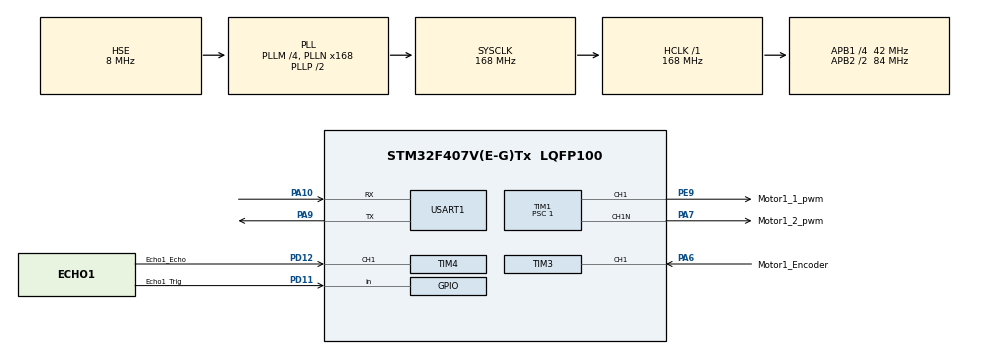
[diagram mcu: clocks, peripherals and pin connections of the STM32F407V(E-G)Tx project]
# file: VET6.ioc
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Mcu.Family=STM32F4
Mcu.Name=STM32F407V(E-G)Tx
Mcu.Package=LQFP100
NVIC.PriorityGroup=NVIC_PRIORITYGROUP_4
NVIC.TIM3_IRQn=true\:0\:0\:false\:false\:true\:true
NVIC.TIM4_IRQn=true\:0\:0\:false\:false\:true\:true
PA10.Mode=Asynchronous
PA10.Signal=USART1_RX
PA6.GPIO_Label=Motor1_Encoder
PA6.GPIO_PuPd=GPIO_PULLUP
PA6.GPIO_Speed=GPIO_SPEED_FREQ_HIGH
PA6.Signal=S_TIM3_CH1
PA7.GPIO_Label=Motor1_2_pwm
PA7.GPIO_PuPd=GPIO_PULLUP
PA7.GPIO_Speed=GPIO_SPEED_FREQ_HIGH
PA7.Mode=PWM Generation1 CH1 CH1N
PA7.Signal=TIM1_CH1N
PA9.Mode=Asynchronous
PA9.Signal=USART1_TX
PD11.GPIO_Label=Echo1_Trig
PD11.GPIO_PuPd=GPIO_PULLDOWN
PD11.Signal=GPIO_Input
PD12.GPIO_Label=Echo1_Echo
PD12.GPIO_PuPd=GPIO_PULLDOWN
PD12.GPIO_Speed=GPIO_SPEED_FREQ_HIGH
PD12.Signal=S_TIM4_CH1
PE9.GPIO_Label=Motor1_1_pwm
PE9.GPIO_PuPd=GPIO_PULLUP
PE9.GPIO_Speed=GPIO_SPEED_FREQ_HIGH
PE9.Signal=S_TIM1_CH1
PH0-OSC_IN.Mode=HSE-External-Oscillator
PH0-OSC_IN.Signal=RCC_OSC_IN
PH1-OSC_OUT.Mode=HSE-External-Oscillator
PH1-OSC_OUT.Signal=RCC_OSC_OUT
ProjectManager.HeapSize=0x200
ProjectManager.StackSize=0x400
ProjectManager.TargetToolchain=MDK-ARM V5
RCC.48MHZClocksFreq_Value=84000000
RCC.AHBFreq_Value=168000000
RCC.APB1CLKDivider=RCC_HCLK_DIV4
RCC.APB1Freq_Value=42000000
RCC.APB1TimFreq_Value=84000000
RCC.APB2CLKDivider=RCC_HCLK_DIV2
RCC.APB2Freq_Value=84000000
RCC.APB2TimFreq_Value=168000000
RCC.CortexFreq_Value=168000000
RCC.HCLKFreq_Value=168000000
RCC.HSE_VALUE=8000000
RCC.HSI_VALUE=16000000
RCC.LSE_VALUE=32768
RCC.PLLM=4
RCC.PLLN=168
RCC.PLLSourceVirtual=RCC_PLLSOURCE_HSE
RCC.SYSCLKFreq_VALUE=168000000
RCC.SYSCLKSource=RCC_SYSCLKSOURCE_PLLCLK
RCC.VCOOutputFreq_Value=336000000
SH.S_TIM1_CH1.0=TIM1_CH1,PWM Generation1 CH1 CH1N
SH.S_TIM3_CH1.0=TIM3_CH1,Input_Capture1_from_TI1
SH.S_TIM4_CH1.0=TIM4_CH1,Input_Capture1_from_TI1
TIM1.Channel-PWM\ Generation1\ CH1\ CH1N=TIM_CHANNEL_1
TIM1.Period=900
TIM1.Prescaler=1
TIM3.Channel-Input_Capture1_from_TI1=TIM_CHANNEL_1
TIM3.Period=0xFFFF
TIM3.Prescaler=167
TIM4.Channel-Input_Capture1_from_TI1=TIM_CHANNEL_1
TIM4.Period=0xFFFF
TIM4.Prescaler=167
USART1.VirtualMode=VM_ASYNC
VP_TIM1_VS_ClockSourceINT.Mode=Internal
VP_TIM3_VS_ClockSourceINT.Mode=Internal
VP_TIM4_VS_ClockSourceINT.Mode=Internal
board=custom

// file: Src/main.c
/**
  ******************************************************************************
  * @file           : main.c
  * @brief          : Main program body
  ******************************************************************************
  ** This notice applies to any and all portions of this file
  * that are not between comment pairs USER CODE BEGIN and
  * USER CODE END. Other portions of this file, whether
  * inserted by the user or by software development tools
  * are owned by their respective copyright owners.
  *
  * COPYRIGHT(c) 2019 STMicroelectronics
  *
  * Redistribution and use in source and binary forms, with or without modification,
  * are permitted provided that the following conditions are met:
  *   1. Redistributions of source code must retain the above copyright notice,
  *      this list of conditions and the following disclaimer.
  *   2. Redistributions in binary form must reproduce the above copyright notice,
  *      this list of conditions and the following disclaimer in the documentation
  *      and/or other materials provided with the distribution.
  *   3. Neither the name of STMicroelectronics nor the names of its contributors
  *      may be used to endorse or promote products derived from this software
  *      without specific prior written permission.
  *
  * THIS SOFTWARE IS PROVIDED BY THE COPYRIGHT HOLDERS AND CONTRIBUTORS "AS IS"
  * AND ANY EXPRESS OR IMPLIED WARRANTIES, INCLUDING, BUT NOT LIMITED TO, THE
  * IMPLIED WARRANTIES OF MERCHANTABILITY AND FITNESS FOR A PARTICULAR PURPOSE ARE
  * DISCLAIMED. IN NO EVENT SHALL THE COPYRIGHT HOLDER OR CONTRIBUTORS BE LIABLE
  * FOR ANY DIRECT, INDIRECT, INCIDENTAL, SPECIAL, EXEMPLARY, OR CONSEQUENTIAL
  * DAMAGES (INCLUDING, BUT NOT LIMITED TO, PROCUREMENT OF SUBSTITUTE GOODS OR
  * SERVICES; LOSS OF USE, DATA, OR PROFITS; OR BUSINESS INTERRUPTION) HOWEVER
  * CAUSED AND ON ANY THEORY OF LIABILITY, WHETHER IN CONTRACT, STRICT LIABILITY,
  * OR TORT (INCLUDING NEGLIGENCE OR OTHERWISE) ARISING IN ANY WAY OUT OF THE USE
  * OF THIS SOFTWARE, EVEN IF ADVISED OF THE POSSIBILITY OF SUCH DAMAGE.
  *
  ******************************************************************************
  */
#include "main.h"
#include "stm32f4xx_hal.h"
#include "tim.h"
#include "usart.h"
#include "gpio.h"

/* USER CODE BEGIN Includes */
#define Echo1_Trig_GPIO_PIN                       GPIO_PIN_12
#define Echo1_Trig_GPIO                           GPIOD

#define  P_DATA      4                                 //P参数
#define  I_DATA      0                                //I参数
#define  D_DATA     -1                              //D参数

#include "stdio.h"
#ifdef __GNUC__
#define PUTCHAR_PROTOTYPE int __io_putchar(int ch)
#else
#define PUTCHAR_PROTOTYPE int fputc(int ch, FILE *f)
#endif /* __GNUC__ */
PUTCHAR_PROTOTYPE
{
	HAL_UART_Transmit(&huart1 , (uint8_t *)&ch, 1, 0xFFFF);
	return ch;
}
/* USER CODE END Includes */

/* USER CODE BEGIN PV */
/* Private variables ---------------------------------------------------------*/

/* USER CODE END PV */

void SystemClock_Config(void);

/* USER CODE BEGIN PFP */
/* Private function prototypes -----------------------------------------------*/

typedef struct              //测量高电平脉宽
{
	uint8_t   ucFinishFlag;
	uint8_t   ucStartFlag;
	uint16_t  usCtr;
	uint16_t  usPeriod;
}STRUCT_CAPTURE;

STRUCT_CAPTURE strCapture = { 0, 0, 0 };

typedef struct
{
   __IO int      SetPoint;                                 //设定目标 Desired Value
   __IO double   Proportion;                               //比例常数 Proportional Const
   __IO double   Integral;                                 //积分常数 Integral Const
   __IO double   Derivative;                               //微分常数 Derivative Const
   __IO int      LastError;                                //Error[-1]
   __IO int      PrevError;                                //Error[-2]
}PID;

__IO uint16_t time_count=0;        // 时间计数，每1ms增加一(与滴定时器频率有关)
__IO uint32_t CaptureNumber=0;     // 输入捕获数
__IO uint8_t  start_flag=0;
__IO double encoder_speed=0;
__IO uint16_t PWM_Duty;
;
static PID sPID;
static PID *sptr = &sPID;
/* USER CODE END PFP */

/* USER CODE BEGIN 0 */
void IncPIDInit(void);
int IncPIDCalc(int NextPoint);
void HcSr04_Delay(__IO uint32_t i);
/* USER CODE END 0 */

int main(void)
{
  /* USER CODE BEGIN 1 */
	uint32_t temp;
  uint32_t ulTmrClk, ulTime;
  /* USER CODE END 1 */

  /* MCU Configuration----------------------------------------------------------*/

  /* Reset of all peripherals, Initializes the Flash interface and the Systick. */
  HAL_Init();

  /* Configure the system clock */
  SystemClock_Config();

  /* Initialize all configured peripherals */
  MX_GPIO_Init();
  MX_TIM1_Init();
  MX_TIM3_Init();
  MX_USART1_UART_Init();
  MX_TIM4_Init();
  /* USER CODE BEGIN 2 */

	IncPIDInit();
	/* 启动定时器 */
	HAL_TIM_Base_Start(&htim1);
	HAL_TIM_Base_Start(&htim3);
	HAL_TIM_Base_Start(&htim4);
	  /* 启动定时器通道和互补通道PWM输出 */
  HAL_TIM_PWM_Start(&htim1,TIM_CHANNEL_1);
  HAL_TIMEx_PWMN_Start(&htim1,TIM_CHANNEL_1);

  HAL_TIM_IC_Start_IT(&htim3,TIM_CHANNEL_1);
	HAL_TIM_IC_Start_IT(&htim4,TIM_CHANNEL_1);

	start_flag=1;
	printf("增量式PID算法控制电机旋转\r\n");
	printf("超声波输入捕获测试\r\n");
  /* USER CODE END 2 */

  /* Infinite loop */
  /* USER CODE BEGIN WHILE */
	sptr->SetPoint=10000;           //设定目标Desired Value
	  /* 获取定时器时钟周期 */
	ulTmrClk = HAL_RCC_GetHCLKFreq()/167;
  while (1)
  {

  /* USER CODE END WHILE */

  /* USER CODE BEGIN 3 */
	  HAL_GPIO_WritePin(Echo1_Trig_GPIO,Echo1_Trig_GPIO_PIN,GPIO_PIN_SET);
		HcSr04_Delay(500);
    HAL_GPIO_WritePin(Echo1_Trig_GPIO,Echo1_Trig_GPIO_PIN,GPIO_PIN_RESET);
//		printf("Triging……\r\n");
//		HAL_Delay(2000);

    /* 完成测量高电平脉宽 */
    if(strCapture.ucFinishFlag == 1 )
		{
      /* 计算高电平计数值 */
			ulTime = strCapture .usPeriod * 0xFFFF + strCapture .usCtr;
      temp=((ulTime % ulTmrClk)*340)/(1000*2);
      printf ( ">>测得距离为：%dmm\r\n",temp);
      strCapture .ucFinishFlag = 0;
      HAL_Delay(1000);
		}
  }
  /* USER CODE END 3 */

}

void SystemClock_Config(void)
{

  RCC_OscInitTypeDef RCC_OscInitStruct;
  RCC_ClkInitTypeDef RCC_ClkInitStruct;

    /**Configure the main internal regulator output voltage
    */
  __HAL_RCC_PWR_CLK_ENABLE();

  __HAL_PWR_VOLTAGESCALING_CONFIG(PWR_REGULATOR_VOLTAGE_SCALE1);

    /**Initializes the CPU, AHB and APB busses clocks
    */
  RCC_OscInitStruct.OscillatorType = RCC_OSCILLATORTYPE_HSE;
  RCC_OscInitStruct.HSEState = RCC_HSE_ON;
  RCC_OscInitStruct.PLL.PLLState = RCC_PLL_ON;
  RCC_OscInitStruct.PLL.PLLSource = RCC_PLLSOURCE_HSE;
  RCC_OscInitStruct.PLL.PLLM = 4;
  RCC_OscInitStruct.PLL.PLLN = 168;
  RCC_OscInitStruct.PLL.PLLP = RCC_PLLP_DIV2;
  RCC_OscInitStruct.PLL.PLLQ = 4;
  if (HAL_RCC_OscConfig(&RCC_OscInitStruct) != HAL_OK)
  {
    _Error_Handler(__FILE__, __LINE__);
  }

    /**Initializes the CPU, AHB and APB busses clocks
    */
  RCC_ClkInitStruct.ClockType = RCC_CLOCKTYPE_HCLK|RCC_CLOCKTYPE_SYSCLK
                              |RCC_CLOCKTYPE_PCLK1|RCC_CLOCKTYPE_PCLK2;
  RCC_ClkInitStruct.SYSCLKSource = RCC_SYSCLKSOURCE_PLLCLK;
  RCC_ClkInitStruct.AHBCLKDivider = RCC_SYSCLK_DIV1;
  RCC_ClkInitStruct.APB1CLKDivider = RCC_HCLK_DIV4;
  RCC_ClkInitStruct.APB2CLKDivider = RCC_HCLK_DIV2;

  if (HAL_RCC_ClockConfig(&RCC_ClkInitStruct, FLASH_LATENCY_5) != HAL_OK)
  {
    _Error_Handler(__FILE__, __LINE__);
  }

    /**Configure the Systick interrupt time
    */
  HAL_SYSTICK_Config(HAL_RCC_GetHCLKFreq()/1000);

    /**Configure the Systick
    */
  HAL_SYSTICK_CLKSourceConfig(SYSTICK_CLKSOURCE_HCLK);

  /* SysTick_IRQn interrupt configuration */
  HAL_NVIC_SetPriority(SysTick_IRQn, 0, 0);
}

/* USER CODE BEGIN 4 */

/**
  * 函数功能: 系统滴答定时器中断回调函数
  * 输入参数: 无
  * 返 回 值: 无
  * 说    明: 每发生一次滴答定时器中断进入该回调函数一次
  */
void HAL_SYSTICK_Callback(void)
{
  if(start_flag) // 等待脉冲输出后才开始计时
  {
    time_count++;         // 每1ms自动增一
    if(time_count==200)
    {
      __IO uint32_t count;
      __IO int para;
      __IO double cal;

      /* 得到编码器计数值，数值越大说明速度越大 */
      count=CaptureNumber;
      CaptureNumber=0;    // 清零，从零开始计数

      /* 计数得到增量式PID的增量数值 */
      para=IncPIDCalc(count);

      /* 根据增量数值调整当前电机速度 */
      if((para<-3)||(para>3)) // 不做 PID 调整，避免误差较小时频繁调节引起震荡。
      {
        PWM_Duty +=para/100;
      }
      if(PWM_Duty>899)PWM_Duty=899;

      // 11：编码器线数(转速一圈输出脉冲数)
      // 34：电机减数比，内部电机转动圈数与电机输出轴转动圈数比，即减速齿轮比
      cal=sptr->SetPoint;
//			printf("\n设度中断时间 ->   %ds     ",time_count);
//      printf("\n设定目标速度 ->%d个脉冲     ",sptr->SetPoint);
//      printf("当前电机速度-> %d个脉冲\n     ",count);
//			printf("差值电机速度-> %d个脉冲\n     ",count-sptr->SetPoint);
//      printf("增量式PID算法计数结果值：%d   设置新的占空比为：%d\r\n",para,PWM_Duty);

			__HAL_TIM_SET_COMPARE(&htim1,TIM_CHANNEL_1,PWM_Duty);
      time_count=0;
    }
  }
}

void HAL_TIM_IC_CaptureCallback(TIM_HandleTypeDef *htim)
{
	if(htim == &(htim3))
	{
		CaptureNumber++;
	}

	else if(htim == &(htim4))
	{
		  TIM_IC_InitTypeDef sConfigIC;

			if ( strCapture .ucStartFlag == 0 )
			{
				htim4.Instance->CNT=0; // 清零定时器计数
				strCapture .usPeriod = 0;
				strCapture .usCtr = 0;

				// 配置输入捕获参数，主要是修改触发电平
				sConfigIC.ICPolarity = TIM_INPUTCHANNELPOLARITY_FALLING;
				sConfigIC.ICSelection = TIM_ICSELECTION_DIRECTTI;
				sConfigIC.ICPrescaler = TIM_ICPSC_DIV1;
				sConfigIC.ICFilter = 0;
				HAL_TIM_IC_ConfigChannel(&htim4, &sConfigIC, TIM_CHANNEL_1);
				// 清除中断标志位
				__HAL_TIM_CLEAR_IT(htim, TIM_IT_CC1);
				// 启动输入捕获并开启中断
				HAL_TIM_IC_Start_IT(&htim4,TIM_CHANNEL_1);
				strCapture .ucStartFlag = 1;
			}

			else
			{
				// 获取定时器计数值
				strCapture .usCtr = HAL_TIM_ReadCapturedValue(&htim4,TIM_CHANNEL_1);
				// 配置输入捕获参数，主要是修改触发电平
				sConfigIC.ICPolarity = TIM_INPUTCHANNELPOLARITY_RISING;
				sConfigIC.ICSelection = TIM_ICSELECTION_DIRECTTI;
				sConfigIC.ICPrescaler = TIM_ICPSC_DIV1;
				sConfigIC.ICFilter = 0;
				HAL_TIM_IC_ConfigChannel(&htim4, &sConfigIC, TIM_CHANNEL_1);

				// 清除中断标志位
				__HAL_TIM_CLEAR_IT(htim, TIM_IT_CC1);
				// 启动输入捕获并开启中断
				HAL_TIM_IC_Start_IT(&htim4,TIM_CHANNEL_1);
				strCapture .ucStartFlag = 0;
				strCapture .ucFinishFlag = 1;
			}
	}

}

/**
  * 函数功能: 非阻塞模式下定时器的回调函数
  * 输入参数: htim：定时器句柄
  * 返 回 值: 无
  * 说    明: 无
  */
void HAL_TIM_PeriodElapsedCallback(TIM_HandleTypeDef *htim)
{
	if(htim == &(htim4))
	{
		strCapture .usPeriod ++;
	}
}

void HcSr04_Delay(__IO uint32_t i){

	while(i--);
}

/**************PID参数初始化********************************/
void IncPIDInit(void)
{
    sptr->LastError=0;            //Error[-1]
    sptr->PrevError=0;            //Error[-2]
    sptr->Proportion=P_DATA;      //比例常数 Proportional Const
    sptr->Integral=I_DATA;        //积分常数  Integral Const
    sptr->Derivative=D_DATA;      //微分常数 Derivative Const
    sptr->SetPoint=0;           //设定目标Desired Value
}
/********************增量式PID控制设计************************************/
int IncPIDCalc(int NextPoint)
{
  int iError,iIncpid;                                 //当前误差
  iError=sptr->SetPoint-NextPoint;                    //增量计算
  iIncpid=(sptr->Proportion * iError)                 //E[k]项
              -(sptr->Integral * sptr->LastError)     //E[k-1]项
              +(sptr->Derivative * sptr->PrevError);  //E[k-2]项

  sptr->PrevError=sptr->LastError;                    //存储误差，用于下次计算
  sptr->LastError=iError;
  return(iIncpid);                                    //返回增量值
}

/* USER CODE END 4 */

void _Error_Handler(char *file, int line)
{
  while(1)
  {
  }
}

/************************ (C) COPYRIGHT STMicroelectronics *****END OF FILE****/
